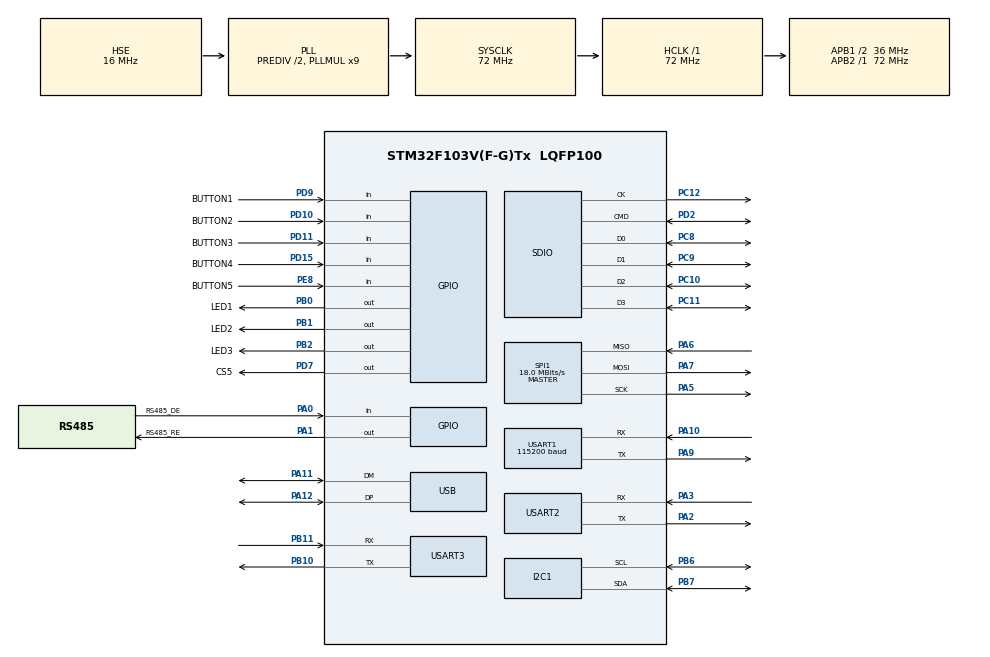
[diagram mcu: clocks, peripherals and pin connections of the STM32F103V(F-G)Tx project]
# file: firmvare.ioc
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FATFS.BSP.number=1
FATFS0.BSP.STBoard=false
FATFS0.BSP.api=Unknown
FATFS0.BSP.instance=PD9
FATFS0.BSP.ip=GPIO
FATFS0.BSP.mode=Input
FATFS0.BSP.name=Detect_SDIO
FATFS0.BSP.solution=PD9
Mcu.Family=STM32F1
Mcu.Name=STM32F103V(F-G)Tx
Mcu.Package=LQFP100
NVIC.PriorityGroup=NVIC_PRIORITYGROUP_4
NVIC.RTC_IRQn=true\:2\:0\:true\:false\:true\:true\:true\:true
NVIC.SDIO_IRQn=true\:0\:0\:false\:false\:true\:true\:true\:true
NVIC.TIM2_IRQn=true\:2\:0\:true\:false\:true\:true\:true\:true
NVIC.TIM6_IRQn=true\:15\:0\:true\:false\:true\:true\:true\:true
NVIC.USART1_IRQn=true\:15\:0\:true\:false\:true\:true\:true\:true
NVIC.USB_LP_CAN1_RX0_IRQn=true\:0\:0\:false\:false\:true\:false\:true\:true
OSC_IN.Mode=HSE-External-Oscillator
OSC_IN.Signal=RCC_OSC_IN
OSC_OUT.Mode=HSE-External-Oscillator
OSC_OUT.Signal=RCC_OSC_OUT
PA0-WKUP.GPIO_Label=RS485_DE
PA0-WKUP.Signal=GPIO_Input
PA1.GPIO_Label=RS485_RE
PA1.Signal=GPIO_Output
PA10.Mode=Asynchronous
PA10.Signal=USART1_RX
PA11.Mode=Device
PA11.Signal=USB_DM
PA12.Mode=Device
PA12.Signal=USB_DP
PA13.Mode=Serial_Wire
PA13.Signal=SYS_JTMS-SWDIO
PA14.Mode=Serial_Wire
PA14.Signal=SYS_JTCK-SWCLK
PA2.Mode=Asynchronous
PA2.Signal=USART2_TX
PA3.Mode=Asynchronous
PA3.Signal=USART2_RX
PA5.Mode=Full_Duplex_Master
PA5.Signal=SPI1_SCK
PA6.Mode=Full_Duplex_Master
PA6.Signal=SPI1_MISO
PA7.Mode=Full_Duplex_Master
PA7.Signal=SPI1_MOSI
PA9.Mode=Asynchronous
PA9.Signal=USART1_TX
PB0.GPIO_Label=LED1
PB0.Signal=GPIO_Output
PB1.GPIO_Label=LED2
PB1.Signal=GPIO_Output
PB10.Mode=Asynchronous
PB10.Signal=USART3_TX
PB11.Mode=Asynchronous
PB11.Signal=USART3_RX
PB2.GPIO_Label=LED3
PB2.Signal=GPIO_Output
PB6.Mode=I2C
PB6.Signal=I2C1_SCL
PB7.Mode=I2C
PB7.Signal=I2C1_SDA
PC10.Mode=SD_4_bits_Wide_bus
PC10.Signal=SDIO_D2
PC11.Mode=SD_4_bits_Wide_bus
PC11.Signal=SDIO_D3
PC12.Mode=SD_4_bits_Wide_bus
PC12.Signal=SDIO_CK
PC8.Mode=SD_4_bits_Wide_bus
PC8.Signal=SDIO_D0
PC9.Mode=SD_4_bits_Wide_bus
PC9.Signal=SDIO_D1
PD10.GPIO_Label=BUTTON2
PD10.Signal=GPIO_Input
PD11.GPIO_Label=BUTTON3
PD11.Signal=GPIO_Input
PD15.GPIO_Label=BUTTON4
PD15.Signal=GPIO_Input
PD2.Mode=SD_4_bits_Wide_bus
PD2.Signal=SDIO_CMD
PD7.GPIO_Label=CS5
PD7.Signal=GPIO_Output
PD9.GPIO_Label=BUTTON1
PD9.Signal=GPIO_Input
PE8.GPIO_Label=BUTTON5
PE8.Signal=GPIO_Input
ProjectManager.HeapSize=0x200
ProjectManager.StackSize=0x400
ProjectManager.TargetToolchain=CMake
RCC.AHBFreq_Value=72000000
RCC.APB1CLKDivider=RCC_HCLK_DIV2
RCC.APB1Freq_Value=36000000
RCC.APB1TimFreq_Value=72000000
RCC.APB2Freq_Value=72000000
RCC.APB2TimFreq_Value=72000000
RCC.HCLKFreq_Value=72000000
RCC.HSEDivPLL=RCC_HSE_PREDIV_DIV2
RCC.HSE_VALUE=16000000
RCC.HSICalibrationValue=12
RCC.PLLMUL=RCC_PLL_MUL9
RCC.PLLSourceVirtual=RCC_PLLSOURCE_HSE
RCC.RTCClockSelection=RCC_RTCCLKSOURCE_HSE_DIV128
RCC.SYSCLKFreq_VALUE=72000000
RCC.SYSCLKSource=RCC_SYSCLKSOURCE_PLLCLK
RCC.USBFreq_Value=48000000
RCC.USBPrescaler=RCC_USBCLKSOURCE_PLL_DIV1_5
RTC.OutPut=RTC_OUTPUTSOURCE_SECOND
SPI1.BaudRatePrescaler=SPI_BAUDRATEPRESCALER_4
SPI1.CalculateBaudRate=18.0 MBits/s
SPI1.Direction=SPI_DIRECTION_2LINES
SPI1.Mode=SPI_MODE_MASTER
SPI1.VirtualType=VM_MASTER
TIM2.AutoReloadPreload=TIM_AUTORELOAD_PRELOAD_ENABLE
TIM2.Period=1000-1
TIM2.Prescaler=72-1
TIM6.Period=2000-1
TIM6.Prescaler=10000-1
USART1.BaudRate=115200
USART1.VirtualMode=VM_ASYNC
USART2.VirtualMode=VM_ASYNC
USART3.VirtualMode=VM_ASYNC
USB_DEVICE.CLASS_NAME_FS=CDC
USB_DEVICE.USBD_SELF_POWERED=1
USB_DEVICE.VirtualMode=Cdc
USB_DEVICE.VirtualModeFS=Cdc_FS
VP_FATFS_VS_SDIO.Mode=SDIO
VP_RTC_VS_RTC_Activate.Mode=RTC_Enabled
VP_RTC_VS_RTC_Calendar.Mode=RTC_Calendar
VP_TIM2_VS_ClockSourceINT.Mode=Internal
VP_TIM6_VS_ClockSourceINT.Mode=Enable_Timer
VP_USB_DEVICE_VS_USB_DEVICE_CDC_FS.Mode=CDC_FS
board=custom

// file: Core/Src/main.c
/* USER CODE BEGIN Header */
/**
  ******************************************************************************
  * @file           : main.c
  * @brief          : Main program body
  ******************************************************************************
  * @attention
  *
  * Copyright (c) 2026 STMicroelectronics.
  * All rights reserved.
  *
  * This software is licensed under terms that can be found in the LICENSE file
  * in the root directory of this software component.
  * If no LICENSE file comes with this software, it is provided AS-IS.
  *
  ******************************************************************************
  */
/* USER CODE END Header */
#include "main.h"
#include "fatfs.h"
#include "usb_device.h"

/* USER CODE BEGIN Includes */
#include "PET.h"
/* USER CODE END Includes */

I2C_HandleTypeDef hi2c1;

RTC_HandleTypeDef hrtc;

SD_HandleTypeDef hsd;

SPI_HandleTypeDef hspi1;

TIM_HandleTypeDef htim2;
TIM_HandleTypeDef htim6;

UART_HandleTypeDef huart1;
UART_HandleTypeDef huart2;
UART_HandleTypeDef huart3;

/* USER CODE BEGIN PV */
PET_488_2 PET_488_2_1;
/* USER CODE END PV */

void SystemClock_Config(void);
static void MX_GPIO_Init(void);
static void MX_USART1_UART_Init(void);
static void MX_I2C1_Init(void);
static void MX_RTC_Init(void);
static void MX_TIM2_Init(void);
static void MX_TIM6_Init(void);
static void MX_USART3_UART_Init(void);
static void MX_USART2_UART_Init(void);
static void MX_SPI1_Init(void);
static void MX_SDIO_SD_Init(void);

int main(void)
{

  /* MCU Configuration--------------------------------------------------------*/

  /* Reset of all peripherals, Initializes the Flash interface and the Systick. */
  HAL_Init();

  /* Configure the system clock */
  SystemClock_Config();

  /* Initialize all configured peripherals */
  MX_GPIO_Init();
  MX_USART1_UART_Init();
  MX_I2C1_Init();
  MX_RTC_Init();
  MX_TIM2_Init();
  MX_TIM6_Init();
  MX_USART3_UART_Init();
  MX_USART2_UART_Init();
  MX_SPI1_Init();
  MX_USB_DEVICE_Init();
  MX_SDIO_SD_Init();
  MX_FATFS_Init();
  /* USER CODE BEGIN 2 */
  HAL_GPIO_WritePin(LED1_GPIO_Port, LED1_Pin, GPIO_PIN_SET);
  HAL_GPIO_WritePin(LED2_GPIO_Port, LED2_Pin, GPIO_PIN_SET);
  HAL_GPIO_WritePin(LED3_GPIO_Port, LED3_Pin, GPIO_PIN_SET);
  PET_4882_Init(&PET_488_2_1);
  uint32_t counter = 0;
  uint8_t tmp_data = 0;
  /* USER CODE END 2 */

  /* Infinite loop */
  while (1)
  {

    /* USER CODE BEGIN 3 */
    if(HAL_UART_Receive(&huart3, &tmp_data, 1, 1) != HAL_TIMEOUT)
	  {
      HAL_GPIO_WritePin(LED2_GPIO_Port, LED2_Pin, GPIO_PIN_SET);
		  //HAL_UART_Transmit(&huart3, &tmp_data, 1, 1000);
		  PET_4882_Recive_character(&PET_488_2_1, tmp_data);
		  PET_4882_Process(&PET_488_2_1);
	  }

    if(counter == 500)
    {
      HAL_GPIO_WritePin(LED2_GPIO_Port, LED2_Pin, GPIO_PIN_RESET);
      HAL_GPIO_TogglePin(LED1_GPIO_Port, LED1_Pin);
      counter = 0;
    }
    else
    {
      counter++;
    }

  }
  /* USER CODE END 3 */
}

void SystemClock_Config(void)
{
  RCC_OscInitTypeDef RCC_OscInitStruct = {0};
  RCC_ClkInitTypeDef RCC_ClkInitStruct = {0};
  RCC_PeriphCLKInitTypeDef PeriphClkInit = {0};

  /** Initializes the RCC Oscillators according to the specified parameters
  * in the RCC_OscInitTypeDef structure.
  */
  RCC_OscInitStruct.OscillatorType = RCC_OSCILLATORTYPE_HSE;
  RCC_OscInitStruct.HSEState = RCC_HSE_ON;
  RCC_OscInitStruct.HSEPredivValue = RCC_HSE_PREDIV_DIV2;
  RCC_OscInitStruct.HSIState = RCC_HSI_ON;
  RCC_OscInitStruct.PLL.PLLState = RCC_PLL_ON;
  RCC_OscInitStruct.PLL.PLLSource = RCC_PLLSOURCE_HSE;
  RCC_OscInitStruct.PLL.PLLMUL = RCC_PLL_MUL9;
  if (HAL_RCC_OscConfig(&RCC_OscInitStruct) != HAL_OK)
  {
    Error_Handler();
  }

  /** Initializes the CPU, AHB and APB buses clocks
  */
  RCC_ClkInitStruct.ClockType = RCC_CLOCKTYPE_HCLK|RCC_CLOCKTYPE_SYSCLK
                              |RCC_CLOCKTYPE_PCLK1|RCC_CLOCKTYPE_PCLK2;
  RCC_ClkInitStruct.SYSCLKSource = RCC_SYSCLKSOURCE_PLLCLK;
  RCC_ClkInitStruct.AHBCLKDivider = RCC_SYSCLK_DIV1;
  RCC_ClkInitStruct.APB1CLKDivider = RCC_HCLK_DIV2;
  RCC_ClkInitStruct.APB2CLKDivider = RCC_HCLK_DIV1;

  if (HAL_RCC_ClockConfig(&RCC_ClkInitStruct, FLASH_LATENCY_2) != HAL_OK)
  {
    Error_Handler();
  }
  PeriphClkInit.PeriphClockSelection = RCC_PERIPHCLK_RTC|RCC_PERIPHCLK_USB;
  PeriphClkInit.RTCClockSelection = RCC_RTCCLKSOURCE_HSE_DIV128;
  PeriphClkInit.UsbClockSelection = RCC_USBCLKSOURCE_PLL_DIV1_5;
  if (HAL_RCCEx_PeriphCLKConfig(&PeriphClkInit) != HAL_OK)
  {
    Error_Handler();
  }
}

static void MX_I2C1_Init(void)
{

  hi2c1.Instance = I2C1;
  hi2c1.Init.ClockSpeed = 100000;
  hi2c1.Init.DutyCycle = I2C_DUTYCYCLE_2;
  hi2c1.Init.OwnAddress1 = 0;
  hi2c1.Init.AddressingMode = I2C_ADDRESSINGMODE_7BIT;
  hi2c1.Init.DualAddressMode = I2C_DUALADDRESS_DISABLE;
  hi2c1.Init.OwnAddress2 = 0;
  hi2c1.Init.GeneralCallMode = I2C_GENERALCALL_DISABLE;
  hi2c1.Init.NoStretchMode = I2C_NOSTRETCH_DISABLE;
  if (HAL_I2C_Init(&hi2c1) != HAL_OK)
  {
    Error_Handler();
  }

}

static void MX_RTC_Init(void)
{

  RTC_TimeTypeDef sTime = {0};
  RTC_DateTypeDef DateToUpdate = {0};

  /** Initialize RTC Only
  */
  hrtc.Instance = RTC;
  hrtc.Init.AsynchPrediv = RTC_AUTO_1_SECOND;
  hrtc.Init.OutPut = RTC_OUTPUTSOURCE_SECOND;
  if (HAL_RTC_Init(&hrtc) != HAL_OK)
  {
    Error_Handler();
  }

  /** Initialize RTC and set the Time and Date
  */
  sTime.Hours = 0x0;
  sTime.Minutes = 0x0;
  sTime.Seconds = 0x0;

  if (HAL_RTC_SetTime(&hrtc, &sTime, RTC_FORMAT_BCD) != HAL_OK)
  {
    Error_Handler();
  }
  DateToUpdate.WeekDay = RTC_WEEKDAY_MONDAY;
  DateToUpdate.Month = RTC_MONTH_JANUARY;
  DateToUpdate.Date = 0x1;
  DateToUpdate.Year = 0x0;

  if (HAL_RTC_SetDate(&hrtc, &DateToUpdate, RTC_FORMAT_BCD) != HAL_OK)
  {
    Error_Handler();
  }

}

static void MX_SDIO_SD_Init(void)
{

  hsd.Instance = SDIO;
  hsd.Init.ClockEdge = SDIO_CLOCK_EDGE_RISING;
  hsd.Init.ClockBypass = SDIO_CLOCK_BYPASS_DISABLE;
  hsd.Init.ClockPowerSave = SDIO_CLOCK_POWER_SAVE_DISABLE;
  hsd.Init.BusWide = SDIO_BUS_WIDE_4B;
  hsd.Init.HardwareFlowControl = SDIO_HARDWARE_FLOW_CONTROL_DISABLE;
  hsd.Init.ClockDiv = 0;

}

static void MX_SPI1_Init(void)
{

  /* SPI1 parameter configuration*/
  hspi1.Instance = SPI1;
  hspi1.Init.Mode = SPI_MODE_MASTER;
  hspi1.Init.Direction = SPI_DIRECTION_2LINES;
  hspi1.Init.DataSize = SPI_DATASIZE_8BIT;
  hspi1.Init.CLKPolarity = SPI_POLARITY_LOW;
  hspi1.Init.CLKPhase = SPI_PHASE_1EDGE;
  hspi1.Init.NSS = SPI_NSS_SOFT;
  hspi1.Init.BaudRatePrescaler = SPI_BAUDRATEPRESCALER_4;
  hspi1.Init.FirstBit = SPI_FIRSTBIT_MSB;
  hspi1.Init.TIMode = SPI_TIMODE_DISABLE;
  hspi1.Init.CRCCalculation = SPI_CRCCALCULATION_DISABLE;
  hspi1.Init.CRCPolynomial = 10;
  if (HAL_SPI_Init(&hspi1) != HAL_OK)
  {
    Error_Handler();
  }

}

static void MX_TIM2_Init(void)
{

  TIM_ClockConfigTypeDef sClockSourceConfig = {0};
  TIM_MasterConfigTypeDef sMasterConfig = {0};

  htim2.Instance = TIM2;
  htim2.Init.Prescaler = 72-1;
  htim2.Init.CounterMode = TIM_COUNTERMODE_UP;
  htim2.Init.Period = 1000-1;
  htim2.Init.ClockDivision = TIM_CLOCKDIVISION_DIV1;
  htim2.Init.AutoReloadPreload = TIM_AUTORELOAD_PRELOAD_ENABLE;
  if (HAL_TIM_Base_Init(&htim2) != HAL_OK)
  {
    Error_Handler();
  }
  sClockSourceConfig.ClockSource = TIM_CLOCKSOURCE_INTERNAL;
  if (HAL_TIM_ConfigClockSource(&htim2, &sClockSourceConfig) != HAL_OK)
  {
    Error_Handler();
  }
  sMasterConfig.MasterOutputTrigger = TIM_TRGO_RESET;
  sMasterConfig.MasterSlaveMode = TIM_MASTERSLAVEMODE_DISABLE;
  if (HAL_TIMEx_MasterConfigSynchronization(&htim2, &sMasterConfig) != HAL_OK)
  {
    Error_Handler();
  }

}

static void MX_TIM6_Init(void)
{

  TIM_MasterConfigTypeDef sMasterConfig = {0};

  htim6.Instance = TIM6;
  htim6.Init.Prescaler = 10000-1;
  htim6.Init.CounterMode = TIM_COUNTERMODE_UP;
  htim6.Init.Period = 2000-1;
  htim6.Init.AutoReloadPreload = TIM_AUTORELOAD_PRELOAD_DISABLE;
  if (HAL_TIM_Base_Init(&htim6) != HAL_OK)
  {
    Error_Handler();
  }
  sMasterConfig.MasterOutputTrigger = TIM_TRGO_RESET;
  sMasterConfig.MasterSlaveMode = TIM_MASTERSLAVEMODE_DISABLE;
  if (HAL_TIMEx_MasterConfigSynchronization(&htim6, &sMasterConfig) != HAL_OK)
  {
    Error_Handler();
  }

}

static void MX_USART1_UART_Init(void)
{

  huart1.Instance = USART1;
  huart1.Init.BaudRate = 115200;
  huart1.Init.WordLength = UART_WORDLENGTH_8B;
  huart1.Init.StopBits = UART_STOPBITS_1;
  huart1.Init.Parity = UART_PARITY_NONE;
  huart1.Init.Mode = UART_MODE_TX_RX;
  huart1.Init.HwFlowCtl = UART_HWCONTROL_NONE;
  huart1.Init.OverSampling = UART_OVERSAMPLING_16;
  if (HAL_UART_Init(&huart1) != HAL_OK)
  {
    Error_Handler();
  }

}

static void MX_USART2_UART_Init(void)
{

  huart2.Instance = USART2;
  huart2.Init.BaudRate = 115200;
  huart2.Init.WordLength = UART_WORDLENGTH_8B;
  huart2.Init.StopBits = UART_STOPBITS_1;
  huart2.Init.Parity = UART_PARITY_NONE;
  huart2.Init.Mode = UART_MODE_TX_RX;
  huart2.Init.HwFlowCtl = UART_HWCONTROL_NONE;
  huart2.Init.OverSampling = UART_OVERSAMPLING_16;
  if (HAL_UART_Init(&huart2) != HAL_OK)
  {
    Error_Handler();
  }

}

static void MX_USART3_UART_Init(void)
{

  huart3.Instance = USART3;
  huart3.Init.BaudRate = 115200;
  huart3.Init.WordLength = UART_WORDLENGTH_8B;
  huart3.Init.StopBits = UART_STOPBITS_1;
  huart3.Init.Parity = UART_PARITY_NONE;
  huart3.Init.Mode = UART_MODE_TX_RX;
  huart3.Init.HwFlowCtl = UART_HWCONTROL_NONE;
  huart3.Init.OverSampling = UART_OVERSAMPLING_16;
  if (HAL_UART_Init(&huart3) != HAL_OK)
  {
    Error_Handler();
  }

}

static void MX_GPIO_Init(void)
{
  GPIO_InitTypeDef GPIO_InitStruct = {0};

  /* GPIO Ports Clock Enable */
  __HAL_RCC_GPIOA_CLK_ENABLE();
  __HAL_RCC_GPIOB_CLK_ENABLE();
  __HAL_RCC_GPIOE_CLK_ENABLE();
  __HAL_RCC_GPIOD_CLK_ENABLE();
  __HAL_RCC_GPIOC_CLK_ENABLE();

  /*Configure GPIO pin Output Level */
  HAL_GPIO_WritePin(RS485_RE_GPIO_Port, RS485_RE_Pin, GPIO_PIN_RESET);

  /*Configure GPIO pin Output Level */
  HAL_GPIO_WritePin(GPIOB, LED1_Pin|LED2_Pin|LED3_Pin, GPIO_PIN_RESET);

  /*Configure GPIO pin Output Level */
  HAL_GPIO_WritePin(CS5_GPIO_Port, CS5_Pin, GPIO_PIN_RESET);

  /*Configure GPIO pin : RS485_DE_Pin */
  GPIO_InitStruct.Pin = RS485_DE_Pin;
  GPIO_InitStruct.Mode = GPIO_MODE_INPUT;
  GPIO_InitStruct.Pull = GPIO_NOPULL;
  HAL_GPIO_Init(RS485_DE_GPIO_Port, &GPIO_InitStruct);

  /*Configure GPIO pin : RS485_RE_Pin */
  GPIO_InitStruct.Pin = RS485_RE_Pin;
  GPIO_InitStruct.Mode = GPIO_MODE_OUTPUT_PP;
  GPIO_InitStruct.Pull = GPIO_NOPULL;
  GPIO_InitStruct.Speed = GPIO_SPEED_FREQ_LOW;
  HAL_GPIO_Init(RS485_RE_GPIO_Port, &GPIO_InitStruct);

  /*Configure GPIO pins : LED1_Pin LED2_Pin LED3_Pin */
  GPIO_InitStruct.Pin = LED1_Pin|LED2_Pin|LED3_Pin;
  GPIO_InitStruct.Mode = GPIO_MODE_OUTPUT_PP;
  GPIO_InitStruct.Pull = GPIO_NOPULL;
  GPIO_InitStruct.Speed = GPIO_SPEED_FREQ_LOW;
  HAL_GPIO_Init(GPIOB, &GPIO_InitStruct);

  /*Configure GPIO pin : BUTTON5_Pin */
  GPIO_InitStruct.Pin = BUTTON5_Pin;
  GPIO_InitStruct.Mode = GPIO_MODE_INPUT;
  GPIO_InitStruct.Pull = GPIO_NOPULL;
  HAL_GPIO_Init(BUTTON5_GPIO_Port, &GPIO_InitStruct);

  /*Configure GPIO pins : BUTTON1_Pin BUTTON2_Pin BUTTON3_Pin BUTTON4_Pin */
  GPIO_InitStruct.Pin = BUTTON1_Pin|BUTTON2_Pin|BUTTON3_Pin|BUTTON4_Pin;
  GPIO_InitStruct.Mode = GPIO_MODE_INPUT;
  GPIO_InitStruct.Pull = GPIO_NOPULL;
  HAL_GPIO_Init(GPIOD, &GPIO_InitStruct);

  /*Configure GPIO pin : CS5_Pin */
  GPIO_InitStruct.Pin = CS5_Pin;
  GPIO_InitStruct.Mode = GPIO_MODE_OUTPUT_PP;
  GPIO_InitStruct.Pull = GPIO_NOPULL;
  GPIO_InitStruct.Speed = GPIO_SPEED_FREQ_LOW;
  HAL_GPIO_Init(CS5_GPIO_Port, &GPIO_InitStruct);

}

void Error_Handler(void)
{
  __disable_irq();
  while (1)
  {
  }
}
